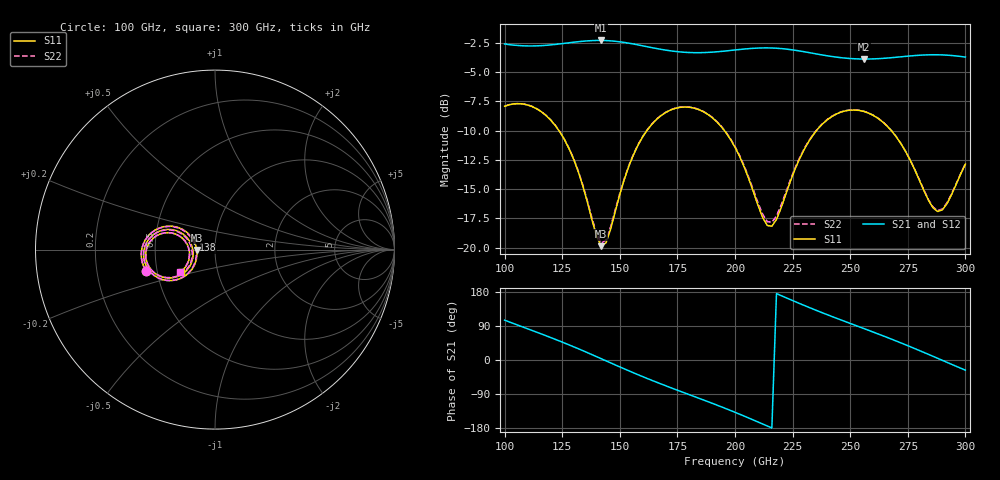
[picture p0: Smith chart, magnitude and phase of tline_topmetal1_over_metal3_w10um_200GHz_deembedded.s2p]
! Created with skrf 2.2.0 (http://scikit-rf.org).
# GHz S DB R 50.0
! Port[1] = P1
! Port[2] = P2
!freq dBS11 angS11 dBS21 angS21 dBS12 angS12 dBS22 angS22
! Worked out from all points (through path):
!   101 points, 100 GHz to 300 GHz, reference 50 ohm
!   highest |S21| = -2.29 dB at 142 GHz (marker M1); lowest = -3.9 dB at 256 GHz (marker M2)
!   group delay of S21, straight-line fit = 6.84 ps
!   lowest |S11| = -19.9 dB at 142 GHz (marker M3), VSWR 1.23, Z = 40.8 - j0.129 ohm
!   |S11| at or under -10 dB: 123.6 GHz to 161.7 GHz (38.16 GHz wide, 26.7 % of centre); 195.4 GHz to 235.4 GHz (39.96 GHz wide, 18.6 % of centre); 267.9 GHz to end of sweep
!   |S22| runs from -19.6 to -7.7 dB; largest |S21 - S12| = 8.5e-14
!   S11 on the Smith chart (normalised r, x): 100 GHz: 0.43, -0.12; 138 GHz: 0.78, +0.08; 300 GHz: 0.66, -0.17
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100  -7.92 -162.9  -2.59 105.1  -2.59 105.1  -7.91 -162.9
118  -8.71 165.2  -2.70 64.0  -2.70 64.0  -8.69 165.5
126  -10.77 153.1  -2.54 44.8  -2.54 44.8  -10.75 153.6
134  -14.76 148.4  -2.36 24.5  -2.36 24.5  -14.68 149.2
138  -17.68 156.3  -2.30 13.9  -2.30 13.9  -17.52 157.2
142  -19.87 -179.1  -2.29 3.2  -2.29 3.2  -19.60 -178.8
144  -19.59 -163.2  -2.30 -2.2  -2.30 -2.2  -19.34 -163.5
152  -14.14 -138.2  -2.46 -23.5  -2.46 -23.5  -14.07 -138.8
160  -10.51 -144.5  -2.75 -44.0  -2.75 -44.0  -10.48 -144.8
168  -8.70 -156.7  -3.05 -63.4  -3.05 -63.4  -8.68 -156.8
184  -8.18 177.1  -3.33 -100.2  -3.33 -100.2  -8.16 177.3
200  -11.42 155.4  -3.10 -138.0  -3.10 -138.0  -11.36 156.1
212  -17.43 168.2  -2.93 -168.8  -2.93 -168.8  -17.15 169.0
216  -18.17 -170.0  -2.94 -179.4  -2.94 -179.4  -17.83 -170.2
224  -14.35 -143.9  -3.07 159.5  -3.07 159.5  -14.22 -145.0
234  -10.34 -148.6  -3.40 134.2  -3.40 134.2  -10.30 -149.3
244  -8.58 -162.3  -3.71 110.3  -3.71 110.3  -8.56 -162.8
256  -8.36 179.8  -3.88 82.8  -3.88 82.8  -8.35 179.5
268  -10.03 163.9  -3.76 54.9  -3.76 54.9  -10.01 163.8
280  -14.22 160.4  -3.55 25.1  -3.55 25.1  -14.18 160.5
288  -16.91 -175.9  -3.51 4.3  -3.51 4.3  -16.83 -176.0
300  -12.86 -147.2  -3.71 -26.9  -3.71 -26.9  -12.82 -147.4
